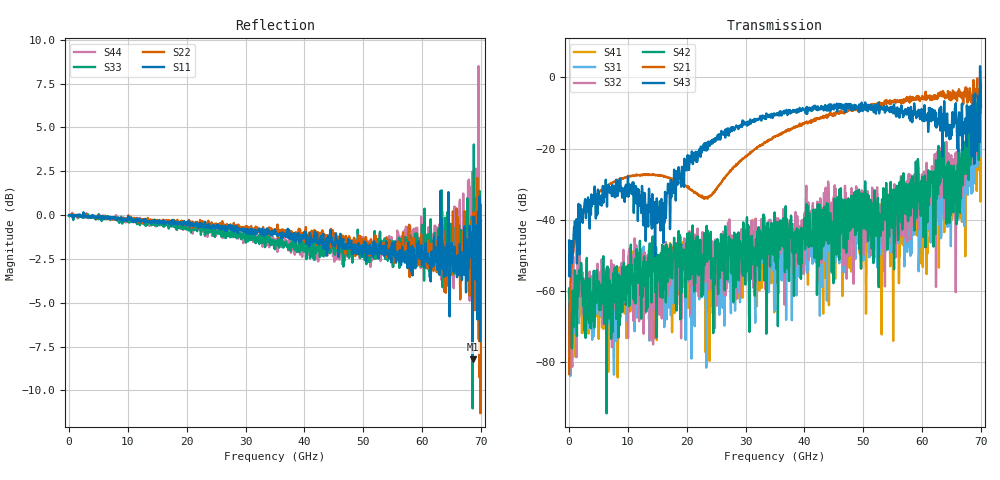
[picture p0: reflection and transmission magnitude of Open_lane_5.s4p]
!Pstart = -2.000000E+001
!Pstop = -1.000000E+001
!Pstep = 2.564103E-001
! 4/30/2026 12:24:50 PM
! C:\ANRITSUVNA\TEMP\TEMP.S4P
! CHANNEL.1
! TR.MEASUREMENT
! CORRECTED.DATA
! RF.CORRECTION: FULL.FOUR.PORT.CAL.PORT.1.2.3.4
! AVERAGING.OFF
! IF.BANDWIDTH: 100HZ
! SWEEPTYPE:  FREQ.SWEEP(Linear)
! Reference Plane Port Info
! DISTANCE:  0  m  0  m  0  m  0  m
! TIME:  0  s  0  s  0  s  0  s
! PHASE.OFFSET:  0 °  0 °  0 °  0 °
! LOSS:  0  dB  0  dB  0  dB  0  dB
! REF.LOSS:  0  dB  0  dB  0  dB  0  dB
! REF.FREQ:  0  Hz  0  Hz  0  Hz  0  Hz
! Power Info
! POWER:  -20  dBm  -20  dBm  -20  dBm  -20  dBm
! EFF.POWER:  -20  dBm  -20  dBm  -40  dBm  -40  dBm
! SOURCE.ATTEN:  0  dB  0  dB  20  dB  20  dB
! TEST.ATTEN:  0  dB  0  dB  20  dB  20  dB
! Created with skrf 1.9.0 (http://scikit-rf.org).
# Hz S RI R 50.0
!freq ReS11 ImS11 ReS12 ImS12 ReS13 ImS13
! ReS14 ImS14
! ReS21 ImS21 ReS22 ImS22 ReS23 ImS23
! ReS24 ImS24
! ReS31 ImS31 ReS32 ImS32 ReS33 ImS33
! ReS34 ImS34
! ReS41 ImS41 ReS42 ImS42 ReS43 ImS43
! ReS44 ImS44
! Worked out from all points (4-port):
!   1001 points, 10 MHz to 70 GHz, reference 50 ohm
!   strongest paths, dB at 10 MHz, 17.51 GHz, 35.01 GHz, 52.5 GHz, 70 GHz:
!     S43: -45.9, -29.7, -10.5, -8.4, -8.4
!     S21: -83.4, -28.4, -16.5, -7.5, -8.1
!     S42: -59.6, -56.5, -51.8, -33.9, -2.3
!     S32: -60.4, -51.4, -44.3, -38.1, -8.4
!     S31: -59.2, -62.7, -65.5, -43.8, -7.0
!     S41: -59.8, -71.6, -50.7, -40.0, -0.1
!   lowest |S11| = -8.2 dB at 68.6 GHz (marker M1), VSWR 2.27, Z = 22.1 + j1.69 ohm
!   |S11| at or under -10 dB: nowhere
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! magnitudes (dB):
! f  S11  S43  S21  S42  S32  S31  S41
! 10 MHz  0.0  -45.9  -83.4  -59.6  -60.4  -59.2  -59.8
! 1.55 GHz  -0.1  -46.5  -42.3  -61.7  -61.7  -58.6  -66.1
! 7.219 GHz  -0.1  -31.4  -29.7  -66.5  -59.1  -69.2  -56.9
! 14.99 GHz  -0.4  -41.0  -27.5  -49.9  -65.2  -56.2  -57.1
! 53.34 GHz  -2.1  -8.6  -7.7  -42.4  -45.1  -38.1  -54.4
! 68.6 GHz  -8.2  -22.2  -4.9  -14.2  -12.5  -24.7  -32.2
! 70 GHz  -0.3  -8.4  -8.1  -2.3  -8.4  -7.0  -0.1
